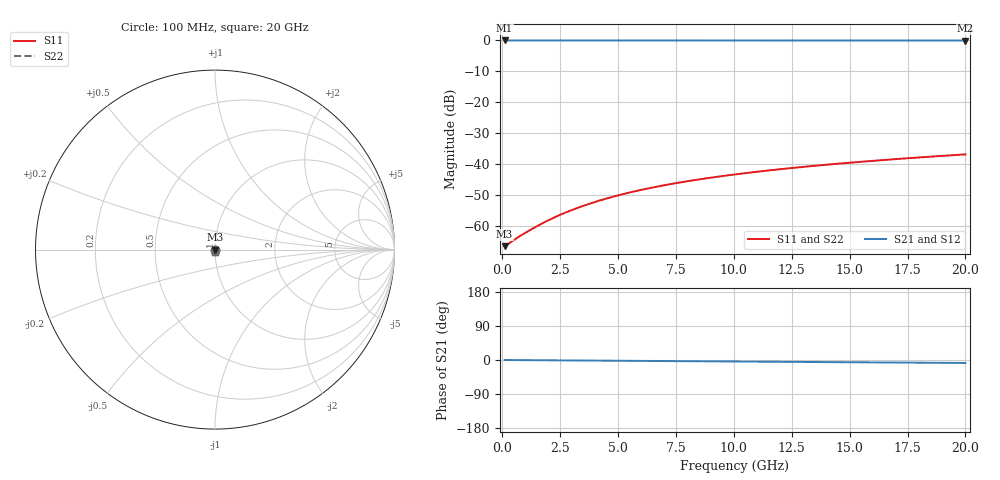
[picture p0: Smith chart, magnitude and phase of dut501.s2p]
! Touchstone file exported from HFSS 2026.1.0
!  File:  C:/ffzhzh/LocalFiles/Ansys_Project_Files/temp_train_TSV_501_1783023047_53980.aedt
!  Generated:  04:12:49 AM Jul  3, 2026
!  Design:  TSV
!  Project:  temp_train_TSV_501_1783023047_53980
! Variables:
!  h_bsmrdl = 2um
!  h_ox = 20um
!  h_rdl = 5um
!  h_sub = 85.06um
!  h_tmrdl = 5um
!  h_tsv = 85.06um
!  h_via = 3um
!  l_bsmrdl = 300um
!  l_sub = 409.56um
!  l_tmrdl = 200um
!  m_sub = 200um
!  pitch = 17.65um
!  r_tsv = 4.78um
!  s_tmrdl = 10um
!  w_bsmrdl = 18um
!  w_sub = 500um
!  w_tmrdl = 12um
!  x_tsv_center1 = 206um
!  x_tsv_center2 = 524um
!  x_tsv_center3 = 736um
!  x_tsv_center4 = 1054um
!  x_tsv_center5 = 1266um
!  x_tsv_center6 = 1584um
# GHz S MA R 50.000000
! Terminal data exported
! Port[1] = TSV1_1_T1
! Port[2] = TSV1_1_T2
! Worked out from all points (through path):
!   200 points, 100 MHz to 20 GHz, reference 50 ohm
!   highest |S21| = 0.00 dB at 100 MHz (marker M1); lowest = 0.0 dB at 20 GHz (marker M2)
!   group delay of S21, straight-line fit = 1.08 ps
!   lowest |S11| = -66.6 dB at 100 MHz (marker M3), VSWR 1.00, Z = 50 - j0.000679 ohm
!   |S11| at or under -10 dB: start of sweep to end of sweep
!   |S22| runs from -66.6 to -36.9 dB; largest |S21 - S12| = 4.3e-15
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0.1  0.0004653 -0.8  0.9995 -0.0  0.9995 -0.0  0.0004653 -0.8
! Gamma 0 0 0 0
! Port Impedance 50 0 50 0
0.2  0.0004886 -2.7  0.9995 -0.1  0.9995 -0.1  0.0004886 -2.7
0.6  0.0006208 -17.5  0.9994 -0.2  0.9994 -0.2  0.0006208 -17.5
0.9  0.0007288 -28.3  0.9994 -0.4  0.9994 -0.4  0.0007288 -28.3
1.4  0.0009358 -41.0  0.9993 -0.6  0.9993 -0.6  0.0009358 -41.0
1.8  0.001125 -47.7  0.9992 -0.7  0.9992 -0.7  0.001125 -47.7
2.2  0.001332 -52.5  0.9992 -0.9  0.9992 -0.9  0.001332 -52.5
2.6  0.001554 -56.0  0.9991 -1.1  0.9991 -1.1  0.001554 -56.0
3  0.001789 -58.8  0.999 -1.2  0.999 -1.2  0.001789 -58.8
3.5  0.002097 -61.5  0.999 -1.4  0.999 -1.4  0.002097 -61.5
4.2  0.002552 -64.5  0.9988 -1.7  0.9988 -1.7  0.002552 -64.5
5  0.003095 -67.3  0.9987 -2.0  0.9987 -2.0  0.003095 -67.3
5.9  0.003727 -69.8  0.9986 -2.4  0.9986 -2.4  0.003727 -69.8
6.8  0.004373 -72.0  0.9984 -2.7  0.9984 -2.7  0.004373 -72.0
7.5  0.004883 -73.5  0.9984 -3.0  0.9984 -3.0  0.004883 -73.4
8.3  0.005469 -75.0  0.9983 -3.3  0.9983 -3.3  0.005469 -75.0
10.1  0.006799 -77.8  0.9981 -4.0  0.9981 -4.0  0.006799 -77.8
11.7  0.007989 -79.9  0.9979 -4.6  0.9979 -4.6  0.007989 -79.9
13.4  0.00926 -81.8  0.9978 -5.3  0.9978 -5.3  0.00926 -81.8
15  0.01046 -83.3  0.9977 -5.9  0.9977 -5.9  0.01046 -83.3
16.7  0.01175 -84.7  0.9975 -6.6  0.9975 -6.6  0.01175 -84.7
20  0.01427 -87.0  0.9972 -7.8  0.9972 -7.8  0.01427 -87.0
